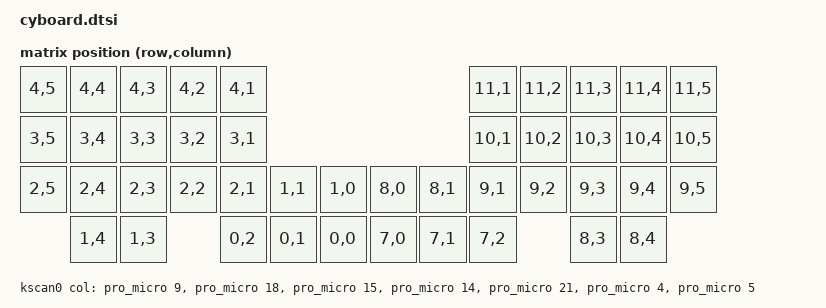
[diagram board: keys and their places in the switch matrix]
#include <dt-bindings/zmk/matrix_transform.h>

/ {
    chosen {
        zmk,kscan = &kscan0;
        zmk,matrix_transform = &default_transform;
    };

    default_transform: keymap_transform_0 {
        compatible = "zmk,matrix-transform";
        columns = <7>;
        rows = <14>;
        map = <
RC(4,5) RC(4,4) RC(4,3) RC(4,2) RC(4,1)                                   RC(11,1) RC(11,2) RC(11,3) RC(11,4) RC(11,5)
RC(3,5) RC(3,4) RC(3,3) RC(3,2) RC(3,1)                                   RC(10,1) RC(10,2) RC(10,3) RC(10,4) RC(10,5)
RC(2,5) RC(2,4) RC(2,3) RC(2,2) RC(2,1) RC(1,1) RC(1,0)   RC(8,0) RC(8,1) RC(9,1)  RC(9,2)  RC(9,3)  RC(9,4)  RC(9,5)
        RC(1,4) RC(1,3)         RC(0,2) RC(0,1) RC(0,0)   RC(7,0) RC(7,1) RC(7,2)           RC(8,3)  RC(8,4)
        >;
    };

    kscan0: kscan {
        compatible = "zmk,kscan-gpio-matrix";
        label = "KSCAN";

        diode-direction = "row2col";
        col-gpios
            = <&pro_micro 9 (GPIO_ACTIVE_HIGH | GPIO_PULL_DOWN)> // col0 from schematic
            , <&pro_micro 18 (GPIO_ACTIVE_HIGH | GPIO_PULL_DOWN)> // col1 from schematic
            , <&pro_micro 15 (GPIO_ACTIVE_HIGH | GPIO_PULL_DOWN)> // col2 from schematic
            , <&pro_micro 14 (GPIO_ACTIVE_HIGH | GPIO_PULL_DOWN)> // col3 from schematic
            , <&pro_micro 21 (GPIO_ACTIVE_HIGH | GPIO_PULL_DOWN)> // col4 from schematic
            , <&pro_micro 4 (GPIO_ACTIVE_HIGH | GPIO_PULL_DOWN)> // col5 from schematic
            , <&pro_micro 5 (GPIO_ACTIVE_HIGH | GPIO_PULL_DOWN)> // col6 from schematic
            ;

    };
};
